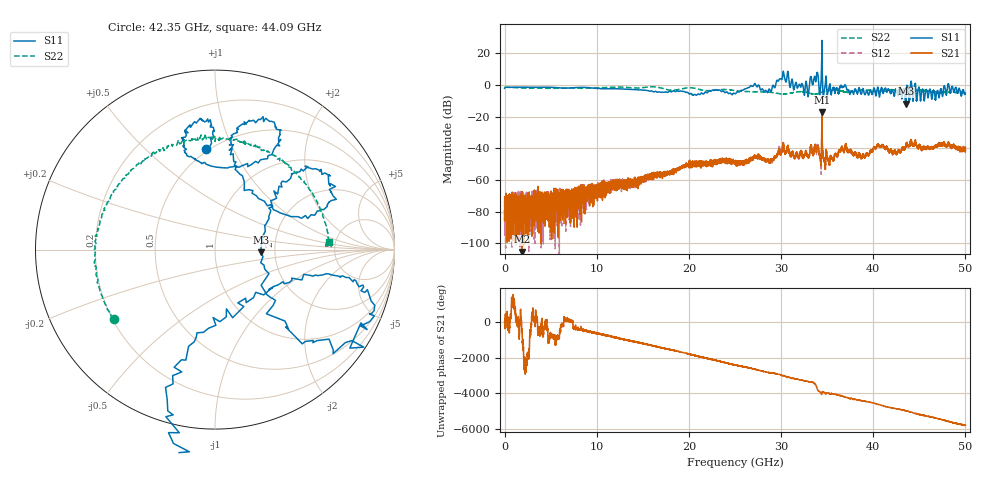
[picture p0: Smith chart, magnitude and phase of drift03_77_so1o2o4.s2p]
!Created with skrf (http://scikit-rf.org).
# Hz S RI R 50.0
!freq ReS11 ImS11 ReS21 ImS21 ReS12 ImS12 ReS22 ImS22
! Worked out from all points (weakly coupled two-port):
!   10000 points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, 5.3 MHz to 50 GHz, reference 50 ohm
!   highest |S21| = -17.16 dB at 34.43 GHz (marker M1); lowest = -105.2 dB at 1.87 GHz (marker M2)
!   lowest |S11| = -11.9 dB at 43.52 GHz (marker M3), VSWR 1.69, Z = 84.1 - j2.79 ohm
!   |S11| at or under -10 dB: 43.48472 GHz to 43.54301 GHz (58.29 MHz wide, 0.134 % of centre); 44.31359 GHz to 44.31564 GHz (2.048 MHz wide, 0.00462 % of centre); 44.7045 GHz to 44.71225 GHz (7.755 MHz wide, 0.0173 % of centre) (the widest 3 of 6)
!   |S22| runs from -5.8 to -1.1 dB; largest |S21 - S12| = 0.034
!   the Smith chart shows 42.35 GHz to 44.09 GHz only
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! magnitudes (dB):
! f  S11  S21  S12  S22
! 5.3 MHz  -2.1  -79.5  -73.3  -1.3
! 1.87 GHz  -1.3  -105.2  -78.7  -1.9
! 5.05 GHz  -1.4  -72.2  -71.8  -2.1
! 8.34 GHz  -1.5  -67.0  -67.8  -2.1
! 16.67 GHz  -4.4  -57.0  -56.2  -1.5
! 20.54 GHz  -6.1  -50.2  -51.2  -1.9
! 25.01 GHz  -5.5  -49.5  -48.7  -3.5
! 27.02 GHz  -0.3  -45.6  -46.0  -4.2
! 28.72 GHz  -2.5  -47.4  -47.7  -4.5
! 30.14 GHz  4.4  -40.6  -40.3  -5.7
! 32.74 GHz  2.0  -42.0  -41.9  -4.6
! 33.34 GHz  2.6  -39.7  -39.9  -5.5
! 33.82 GHz  4.0  -41.7  -41.9  -5.6
! 34.43 GHz  28.2  -17.2  -19.2  -4.5
! 35.29 GHz  0.6  -48.8  -47.3  -3.3
! 36.84 GHz  -0.8  -41.9  -41.7  -4.2
! 38.88 GHz  -2.3  -44.2  -43.2  -3.2
! 40.56 GHz  -2.4  -38.0  -38.1  -4.0
! 41.67 GHz  -2.9  -42.3  -41.7  -3.3
! 43.52 GHz  -11.9  -38.6  -38.6  -4.1
! 48.32 GHz  -4.4  -38.6  -38.4  -4.6
! 50 GHz  -5.1  -41.2  -40.3  -4.5
